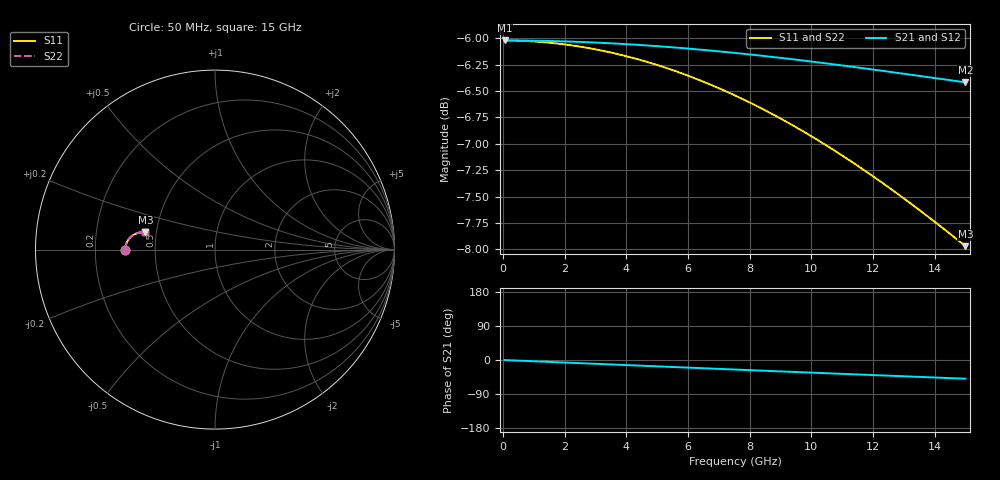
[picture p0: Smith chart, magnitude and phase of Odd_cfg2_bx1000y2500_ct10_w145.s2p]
! Sonnet Data File
! From: emgraph Version : 16.52
! From Emgraph Data: Waveguide
! Data File Written: 09/23/2017 22:00:07
!< HDATE 09/23/2017 12:12:08
!< MDATE 09/23/2017 21:35:28
# GHZ S MA R 50.00000
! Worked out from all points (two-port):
!   300 points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, 50 MHz to 15 GHz, reference 50 ohm
!   highest |S21| = -6.02 dB at 50 MHz (marker M1); lowest = -6.4 dB at 15 GHz (marker M2)
!   |S21| within 3 dB of the highest: start of sweep to end of sweep
!   lowest |S11| = -8.0 dB at 15 GHz (marker M3), VSWR 2.33, Z = 21.7 + j4.97 ohm
!   |S11| at or under -10 dB: nowhere
!   |S22| runs from -8.0 to -6.0 dB; largest |S21 - S12| = 0
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0.05  0.5 179.9  0.5 -0.2  0.5 -0.2  0.5 179.9
!< P1 F=0.05 Eeff=(8.423263e6 -22.588873) Z0=(0.00116061 -9.6185e-8) R=0.0 C=0.0
!< P2 F=0.05 Eeff=(8.423263e6 -22.588873) Z0=(0.00116061 -9.6185e-8) R=0.0 C=0.0
0.7  0.4997 179.1  0.4999 -2.4  0.4999 -2.4  0.4997 179.1
1.3  0.4991 178.3  0.4998 -4.4  0.4998 -4.4  0.4991 178.3
1.95  0.498 177.5  0.4995 -6.6  0.4995 -6.6  0.498 177.5
2.55  0.4965 176.7  0.4992 -8.6  0.4992 -8.6  0.4965 176.7
3.1  0.4949 176.0  0.4988 -10.5  0.4988 -10.5  0.4949 176.0
3.75  0.4925 175.2  0.4982 -12.7  0.4982 -12.7  0.4925 175.2
4.4  0.4897 174.4  0.4976 -14.8  0.4976 -14.8  0.4897 174.4
5.05  0.4865 173.7  0.4968 -17.0  0.4968 -17.0  0.4865 173.7
5.75  0.4827 172.9  0.4959 -19.4  0.4959 -19.4  0.4827 172.9
6.35  0.479 172.2  0.4951 -21.4  0.4951 -21.4  0.479 172.2
7  0.4746 171.5  0.4941 -23.5  0.4941 -23.5  0.4746 171.5
7.55  0.4707 170.9  0.4932 -25.4  0.4932 -25.4  0.4707 170.9
8.7  0.4617 169.8  0.4912 -29.1  0.4912 -29.1  0.4617 169.8
9.4  0.4558 169.2  0.4898 -31.4  0.4898 -31.4  0.4558 169.2
10.05  0.45 168.6  0.4885 -33.5  0.4885 -33.5  0.45 168.6
11.2  0.4391 167.8  0.4861 -37.3  0.4861 -37.3  0.4391 167.8
11.85  0.4327 167.4  0.4847 -39.4  0.4847 -39.4  0.4327 167.4
12.55  0.4256 167.0  0.4832 -41.6  0.4832 -41.6  0.4256 167.0
13.75  0.413 166.4  0.4805 -45.4  0.4805 -45.4  0.413 166.4
14.3  0.4071 166.2  0.4793 -47.2  0.4793 -47.2  0.4071 166.2
15  0.3995 166.1  0.4777 -49.4  0.4777 -49.4  0.3995 166.1
